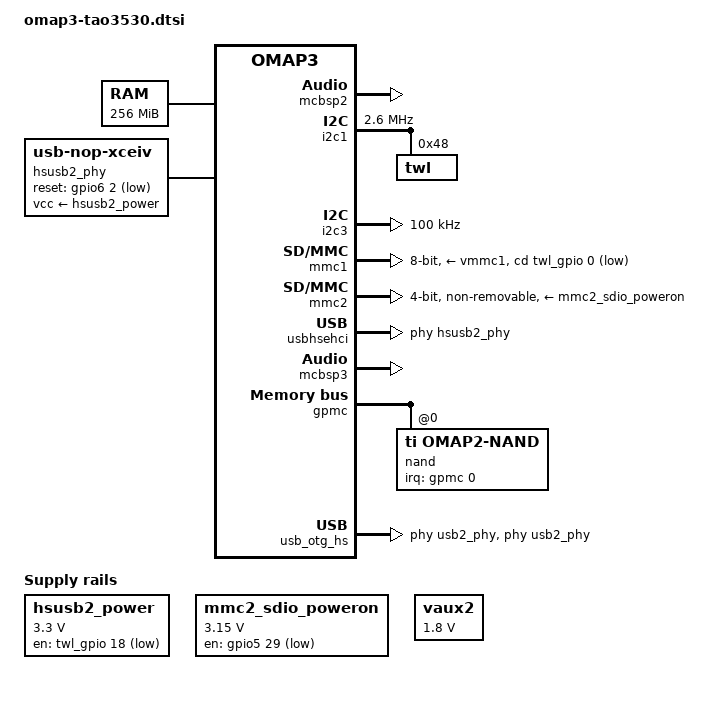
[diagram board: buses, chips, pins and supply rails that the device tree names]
// SPDX-License-Identifier: GPL-2.0-only
/*
 * Copyright (C) 2012 Texas Instruments Incorporated - https://www.ti.com/
 * Copyright (C) 2014 Stefan Roese <sr@denx.de>
 */
/dts-v1/;

#include "omap34xx.dtsi"

/* Secure omaps have some devices inaccessible depending on the firmware */
&aes1_target {
	status = "disabled";
};

&aes2_target {
	status = "disabled";
};

&sham {
	status = "disabled";
};

/ {
	cpus {
		cpu@0 {
			cpu0-supply = <&vcc>;
		};
	};

	memory@80000000 {
		device_type = "memory";
		reg = <0x80000000 0x10000000>; /* 256 MB */
	};

	/* HS USB Port 2 Power */
	hsusb2_power: hsusb2_power_reg {
		compatible = "regulator-fixed";
		regulator-name = "hsusb2_vbus";
		regulator-min-microvolt = <3300000>;
		regulator-max-microvolt = <3300000>;
		gpio = <&twl_gpio 18 GPIO_ACTIVE_HIGH>;	/* GPIO LEDA */
		startup-delay-us = <70000>;
	};

	/* HS USB Host PHY on PORT 2 */
	hsusb2_phy: hsusb2-phy-pins {
		compatible = "usb-nop-xceiv";
		reset-gpios = <&gpio6 2 GPIO_ACTIVE_LOW>;	/* gpio_162 */
		vcc-supply = <&hsusb2_power>;
		#phy-cells = <0>;
	};

	sound {
		compatible = "ti,omap-twl4030";
		ti,model = "omap3beagle";

		/* McBSP2 is used for onboard sound, same as on beagle */
		ti,mcbsp = <&mcbsp2>;
	};

	/* Regulator to enable/switch the vcc of the Wifi module */
	mmc2_sdio_poweron: regulator-mmc2-sdio-poweron {
		compatible = "regulator-fixed";
		regulator-name = "regulator-mmc2-sdio-poweron";
		regulator-min-microvolt = <3150000>;
		regulator-max-microvolt = <3150000>;
		gpio = <&gpio5 29 GPIO_ACTIVE_LOW>;		/* gpio_157 */
		startup-delay-us = <10000>;
	};
};

&omap3_pmx_core {
	hsusbb2_pins: hsusbb2-pins {
		pinctrl-single,pins = <
			OMAP3_CORE1_IOPAD(0x25f0, PIN_OUTPUT | MUX_MODE3)		/* etk_d10.hsusb2_clk */
			OMAP3_CORE1_IOPAD(0x25f2, PIN_OUTPUT | MUX_MODE3)		/* etk_d11.hsusb2_stp */
			OMAP3_CORE1_IOPAD(0x25f4, PIN_INPUT_PULLDOWN | MUX_MODE3)	/* etk_d12.hsusb2_dir */
			OMAP3_CORE1_IOPAD(0x25f6, PIN_INPUT_PULLDOWN | MUX_MODE3)	/* etk_d13.hsusb2_nxt */
			OMAP3_CORE1_IOPAD(0x25f8, PIN_INPUT_PULLDOWN | MUX_MODE3)	/* etk_d14.hsusb2_data0 */
			OMAP3_CORE1_IOPAD(0x25fa, PIN_INPUT_PULLDOWN | MUX_MODE3)	/* etk_d15.hsusb2_data1 */
			OMAP3_CORE1_IOPAD(0x21d4, PIN_INPUT_PULLDOWN | MUX_MODE3)	/* mcspi1_cs3.hsusb2_data2 */
			OMAP3_CORE1_IOPAD(0x21d6, PIN_INPUT_PULLDOWN | MUX_MODE3)	/* mcspi2_clk.hsusb2_data7 */
			OMAP3_CORE1_IOPAD(0x21d8, PIN_INPUT_PULLDOWN | MUX_MODE3)	/* mcspi2_simo.hsusb2_data4 */
			OMAP3_CORE1_IOPAD(0x21da, PIN_INPUT_PULLDOWN | MUX_MODE3)	/* mcspi2_somi.hsusb2_data5 */
			OMAP3_CORE1_IOPAD(0x21dc, PIN_INPUT_PULLDOWN | MUX_MODE3)	/* mcspi2_cs0.hsusb2_data6 */
			OMAP3_CORE1_IOPAD(0x21de, PIN_INPUT_PULLDOWN | MUX_MODE3)	/* mcspi2_cs1.hsusb2_data3 */
		>;
	};

	mmc1_pins: mmc1-pins {
		pinctrl-single,pins = <
			OMAP3_CORE1_IOPAD(0x2144, PIN_INPUT_PULLUP | MUX_MODE0)	/* sdmmc1_clk.sdmmc1_clk */
			OMAP3_CORE1_IOPAD(0x2146, PIN_INPUT_PULLUP | MUX_MODE0)	/* sdmmc1_cmd.sdmmc1_cmd */
			OMAP3_CORE1_IOPAD(0x2148, PIN_INPUT_PULLUP | MUX_MODE0)	/* sdmmc1_dat0.sdmmc1_dat0 */
			OMAP3_CORE1_IOPAD(0x214a, PIN_INPUT_PULLUP | MUX_MODE0)	/* sdmmc1_dat1.sdmmc1_dat1 */
			OMAP3_CORE1_IOPAD(0x214c, PIN_INPUT_PULLUP | MUX_MODE0)	/* sdmmc1_dat2.sdmmc1_dat2 */
			OMAP3_CORE1_IOPAD(0x214e, PIN_INPUT_PULLUP | MUX_MODE0)	/* sdmmc1_dat3.sdmmc1_dat3 */
			OMAP3_CORE1_IOPAD(0x2150, PIN_INPUT_PULLUP | MUX_MODE0) /* sdmmc1_dat4.sdmmc1_dat4 */
			OMAP3_CORE1_IOPAD(0x2152, PIN_INPUT_PULLUP | MUX_MODE0) /* sdmmc1_dat5.sdmmc1_dat5 */
			OMAP3_CORE1_IOPAD(0x2154, PIN_INPUT_PULLUP | MUX_MODE0) /* sdmmc1_dat6.sdmmc1_dat6 */
			OMAP3_CORE1_IOPAD(0x2156, PIN_INPUT_PULLUP | MUX_MODE0) /* sdmmc1_dat7.sdmmc1_dat7 */
		>;
	};

	mmc2_pins: mmc2-pins {
		pinctrl-single,pins = <
			OMAP3_CORE1_IOPAD(0x2158, PIN_INPUT_PULLUP | MUX_MODE0)	/* sdmmc2_clk.sdmmc2_clk */
			OMAP3_CORE1_IOPAD(0x215a, PIN_INPUT_PULLUP | MUX_MODE0)	/* sdmmc2_cmd.sdmmc2_cmd */
			OMAP3_CORE1_IOPAD(0x215c, PIN_INPUT_PULLUP | MUX_MODE0)	/* sdmmc2_dat0.sdmmc2_dat0 */
			OMAP3_CORE1_IOPAD(0x215e, PIN_INPUT_PULLUP | MUX_MODE0)	/* sdmmc2_dat1.sdmmc2_dat1 */
			OMAP3_CORE1_IOPAD(0x2160, PIN_INPUT_PULLUP | MUX_MODE0)	/* sdmmc2_dat2.sdmmc2_dat2 */
			OMAP3_CORE1_IOPAD(0x2162, PIN_INPUT_PULLUP | MUX_MODE0)	/* sdmmc2_dat3.sdmmc2_dat3 */
		>;
	};

	/* wlan GPIO output for WLAN_EN */
	wlan_gpio: wlan-gpio-pins {
		pinctrl-single,pins = <
			OMAP3_CORE1_IOPAD(0x218e, PIN_OUTPUT | MUX_MODE4)	/* mcbsp1_fsr gpio_157 */
		>;
	};

	uart3_pins: uart3-pins {
		pinctrl-single,pins = <
			OMAP3_CORE1_IOPAD(0x219e, PIN_INPUT | PIN_OFF_WAKEUPENABLE | MUX_MODE0) /* uart3_rx_irrx.uart3_rx_irrx */
			OMAP3_CORE1_IOPAD(0x21a0, PIN_OUTPUT | MUX_MODE0)	/* uart3_tx_irtx.uart3_tx_irtx */
		>;
	};

	i2c3_pins: i2c3-pins {
		pinctrl-single,pins = <
			OMAP3_CORE1_IOPAD(0x21c2, PIN_INPUT_PULLUP | MUX_MODE0)	/* i2c3_scl.i2c3_scl */
			OMAP3_CORE1_IOPAD(0x21c4, PIN_INPUT_PULLUP | MUX_MODE0)	/* i2c3_sda.i2c3_sda */
		>;
	};

	mcspi1_pins: mcspi1-pins {
		pinctrl-single,pins = <
			OMAP3_CORE1_IOPAD(0x21c8, PIN_INPUT | MUX_MODE0)	/* mcspi1_clk.mcspi1_clk */
			OMAP3_CORE1_IOPAD(0x21ca, PIN_OUTPUT | MUX_MODE0)	/* mcspi1_simo.mcspi1_simo */
			OMAP3_CORE1_IOPAD(0x21cc, PIN_INPUT_PULLUP | MUX_MODE0)	/* mcspi1_somi.mcspi1_somi */
			OMAP3_CORE1_IOPAD(0x21ce, PIN_OUTPUT | MUX_MODE0)	/* mcspi1_cs0.mcspi1_cs0 */
		>;
	};

	mcspi3_pins: mcspi3-pins {
		pinctrl-single,pins = <
                        OMAP3_CORE1_IOPAD(0x25dc, PIN_OUTPUT | MUX_MODE1)	/* etk_d0.mcspi3_simo gpio14 INPUT | MODE1 */
                        OMAP3_CORE1_IOPAD(0x25de, PIN_INPUT_PULLUP | MUX_MODE1)	/* etk_d1.mcspi3_somi gpio15 INPUT | MODE1 */
                        OMAP3_CORE1_IOPAD(0x25e0, PIN_OUTPUT | MUX_MODE1)	/* etk_d2.mcspi3_cs0 gpio16 INPUT | MODE1 */
                        OMAP3_CORE1_IOPAD(0x25e2, PIN_INPUT | MUX_MODE1)	/* etk_d3.mcspi3_clk gpio17 INPUT | MODE1 */
		>;
	};

	mcbsp3_pins: mcbsp3-pins {
		pinctrl-single,pins = <
			OMAP3_CORE1_IOPAD(0x216c, PIN_OUTPUT | MUX_MODE0)	/* mcbsp3_dx.uart2_cts */
			OMAP3_CORE1_IOPAD(0x216e, PIN_INPUT | MUX_MODE0)	/* mcbsp3_dr.uart2_rts */
			OMAP3_CORE1_IOPAD(0x2170, PIN_INPUT | MUX_MODE0)	/* mcbsp3_clk.uart2_tx */
			OMAP3_CORE1_IOPAD(0x2172, PIN_INPUT | MUX_MODE0)	/* mcbsp3_fsx.uart2_rx */
		>;
	};
};

/* McBSP1: mux'ed with GPIO158 as clock for HA-DSP */
&mcbsp1 {
	status = "disabled";
};

&mcbsp2 {
	status = "okay";
};

&i2c1 {
	clock-frequency = <2600000>;

	twl: twl@48 {
		reg = <0x48>;
		interrupts = <7>; /* SYS_NIRQ cascaded to intc */
		interrupt-parent = <&intc>;

		twl_audio: audio {
			compatible = "ti,twl4030-audio";
			codec {
			};
		};
	};
};

&i2c3 {
	clock-frequency = <100000>;

	pinctrl-names = "default";
	pinctrl-0 = <&i2c3_pins>;
};

&mcspi1 {
	pinctrl-names = "default";
	pinctrl-0 = <&mcspi1_pins>;
};

&mcspi3 {
	pinctrl-names = "default";
	pinctrl-0 = <&mcspi3_pins>;
};

#include "twl4030.dtsi"
#include "twl4030_omap3.dtsi"

&mmc1 {
	pinctrl-names = "default";
	pinctrl-0 = <&mmc1_pins>;
	vmmc-supply = <&vmmc1>;
	vqmmc-supply = <&vsim>;
	cd-gpios = <&twl_gpio 0 GPIO_ACTIVE_LOW>;
	bus-width = <8>;
};

// WiFi (Marvell 88W8686) on MMC2/SDIO
&mmc2 {
	pinctrl-names = "default";
	pinctrl-0 = <&mmc2_pins>;
	vmmc-supply = <&mmc2_sdio_poweron>;
	non-removable;
	bus-width = <4>;
	cap-power-off-card;
};

&mmc3 {
	status = "disabled";
};

&usbhshost {
	port2-mode = "ehci-phy";
};

&usbhsehci {
	phys = <0 &hsusb2_phy>;
};

&twl_gpio {
	ti,use-leds;
	/* pullups: BIT(1) */
	ti,pullups = <0x000002>;
	/*
	 * pulldowns:
	 * BIT(2), BIT(6), BIT(7), BIT(8), BIT(13)
	 * BIT(15), BIT(16), BIT(17)
	 */
	ti,pulldowns = <0x03a1c4>;
};

&uart3 {
	pinctrl-names = "default";
	pinctrl-0 = <&uart3_pins>;
};

&mcbsp3 {
	status = "okay";
	pinctrl-names = "default";
	pinctrl-0 = <&mcbsp3_pins>;
};

&gpmc {
	ranges = <0 0 0x30000000 0x01000000>;	/* CS0: 16MB for NAND */

	nand@0,0 {
		compatible = "ti,omap2-nand";
		reg = <0 0 4>; /* CS0, offset 0, IO size 4 */
		interrupt-parent = <&gpmc>;
		interrupts = <0 IRQ_TYPE_NONE>, /* fifoevent */
			     <1 IRQ_TYPE_NONE>;	/* termcount */
		nand-bus-width = <16>;
		gpmc,device-width = <2>;	/* GPMC_DEVWIDTH_16BIT */
		ti,nand-ecc-opt = "sw";

		gpmc,cs-on-ns = <0>;
		gpmc,cs-rd-off-ns = <36>;
		gpmc,cs-wr-off-ns = <36>;
		gpmc,adv-on-ns = <6>;
		gpmc,adv-rd-off-ns = <24>;
		gpmc,adv-wr-off-ns = <36>;
		gpmc,oe-on-ns = <6>;
		gpmc,oe-off-ns = <48>;
		gpmc,we-on-ns = <6>;
		gpmc,we-off-ns = <30>;
		gpmc,rd-cycle-ns = <72>;
		gpmc,wr-cycle-ns = <72>;
		gpmc,access-ns = <54>;
		gpmc,wr-access-ns = <30>;

		#address-cells = <1>;
		#size-cells = <1>;

		x-loader@0 {
			label = "X-Loader";
			reg = <0 0x80000>;
		};

		bootloaders@80000 {
			label = "U-Boot";
			reg = <0x80000 0x1e0000>;
		};

		bootloaders_env@260000 {
			label = "U-Boot Env";
			reg = <0x260000 0x20000>;
		};

		kernel@280000 {
			label = "Kernel";
			reg = <0x280000 0x400000>;
		};

		filesystem@680000 {
			label = "File System";
			reg = <0x680000 0xf980000>;
		};
	};
};

&usb_otg_hs {
	interface-type = <0>;
	usb-phy = <&usb2_phy>;
	phys = <&usb2_phy>;
	phy-names = "usb2-phy";
	mode = <3>;
	power = <50>;
};

&vaux2 {
	regulator-name = "vdd_ehci";
	regulator-min-microvolt = <1800000>;
	regulator-max-microvolt = <1800000>;
	regulator-always-on;
};
